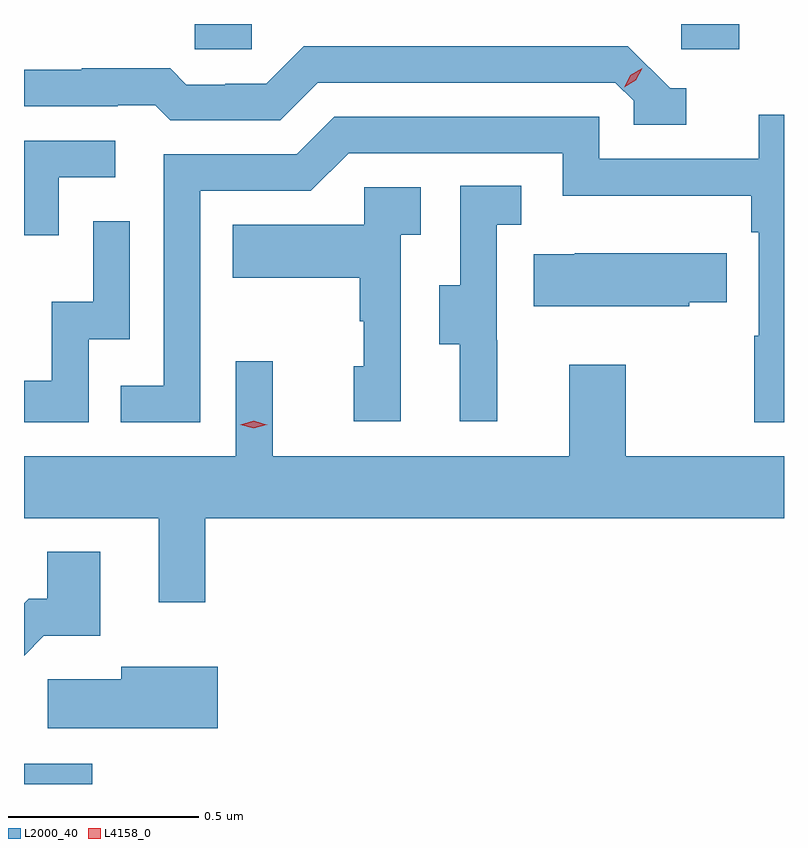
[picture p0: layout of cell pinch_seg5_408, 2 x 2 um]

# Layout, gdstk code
import gdstk
lib = gdstk.Library(unit=1e-6, precision=1e-09)
def R(c, l, rs):  # rectangles x0, y0, x1, y1
    for r in rs: c.add(gdstk.rectangle(r[:2], r[2:], *l))
def P(c, l, *ps):  # polygons
    for p in ps: c.add(gdstk.Polygon(p, *l))
L2000_40 = (2000, 40)
L4158_0 = (4158, 0)

pinch_seg5_408 = lib.new_cell('pinch_seg5_408')
R(pinch_seg5_408, L2000_40, [(951.094,869.381,951.274,869.434), (951.543,871.314,951.693,871.381), (952.824,871.314,952.976,871.381)])
P(pinch_seg5_408, L2000_40, [(952.837,871.212),(952.794,871.212),(952.683,871.323),(951.83,871.323),(951.731,871.224),(951.624,871.224),(951.624,871.221),(951.521,871.221),(951.479,871.264),(951.246,871.264),(951.246,871.261),(951.094,871.261),(951.094,871.164),(951.341,871.164),(951.341,871.167),(951.44,871.167),(951.479,871.128),(951.768,871.128),(951.867,871.227),(952.65,871.227),(952.698,871.179),(952.698,871.116),(952.837,871.116)],
  [(951.558,870.942),(951.849,870.942),(951.948,871.041),(952.512,871.041),(952.512,870.929),(953.008,870.929),(953.008,870.833),(953.028,870.833),(953.028,870.56),(953.016,870.56),(953.016,870.333),(953.094,870.333),(953.094,871.142),(953.027,871.142),(953.027,871.026),(952.608,871.026),(952.608,871.137),(951.911,871.137),(951.812,871.038),(951.462,871.038),(951.462,870.429),(951.349,870.429),(951.349,870.333),(951.558,870.333)],
  [(951.186,870.978),(951.334,870.978),(951.334,871.074),(951.094,871.074),(951.094,870.825),(951.186,870.825)],
  [(952.34,870.549),(952.338,870.549),(952.338,870.853),(952.402,870.853),(952.402,870.956),(952.242,870.956),(952.242,870.693),(952.187,870.693),(952.187,870.538),(952.241,870.538),(952.241,870.336),(952.34,870.336)],
  [(952.086,870.827),(952.138,870.827),(952.138,870.951),(951.99,870.951),(951.99,870.853),(951.643,870.853),(951.643,870.713),(951.978,870.713),(951.978,870.599),(951.988,870.599),(951.988,870.48),(951.962,870.48),(951.962,870.336),(952.086,870.336)],
  [(951.264,870.552),(951.372,870.552),(951.372,870.862),(951.276,870.862),(951.276,870.65),(951.167,870.65),(951.167,870.442),(951.094,870.442),(951.094,870.333),(951.264,870.333)],
  [(952.845,870.649),(952.943,870.649),(952.943,870.778),(952.543,870.778),(952.543,870.775),(952.435,870.775),(952.435,870.638),(952.845,870.638)],
  [(951.571,870.08),(953.094,870.08),(953.094,870.244),(952.677,870.244),(952.677,870.484),(952.529,870.484),(952.529,870.244),(951.749,870.244),(951.749,870.493),(951.651,870.493),(951.651,870.244),(951.094,870.244),(951.094,870.08),(951.449,870.08),(951.449,869.859),(951.571,869.859)],
  [(951.146,869.771),(951.295,869.771),(951.295,869.992),(951.155,869.992),(951.155,869.869),(951.106,869.869),(951.094,869.857),(951.094,869.719)],
  [(951.604,869.689),(951.35,869.689),(951.35,869.657),(951.156,869.657),(951.156,869.528),(951.604,869.528)])
P(pinch_seg5_408, L4158_0, [(951.698,870.317),(951.663,870.327),(951.662,870.327),(951.663,870.327),(951.698,870.337),(951.733,870.327),(951.734,870.327),(951.733,870.327)],
  [(952.673,871.214),(952.673,871.214),(952.69,871.246),(952.721,871.265),(952.721,871.265),(952.721,871.265),(952.704,871.233),(952.673,871.214)])

lib.write_gds('pinch_seg5_408.gds')
